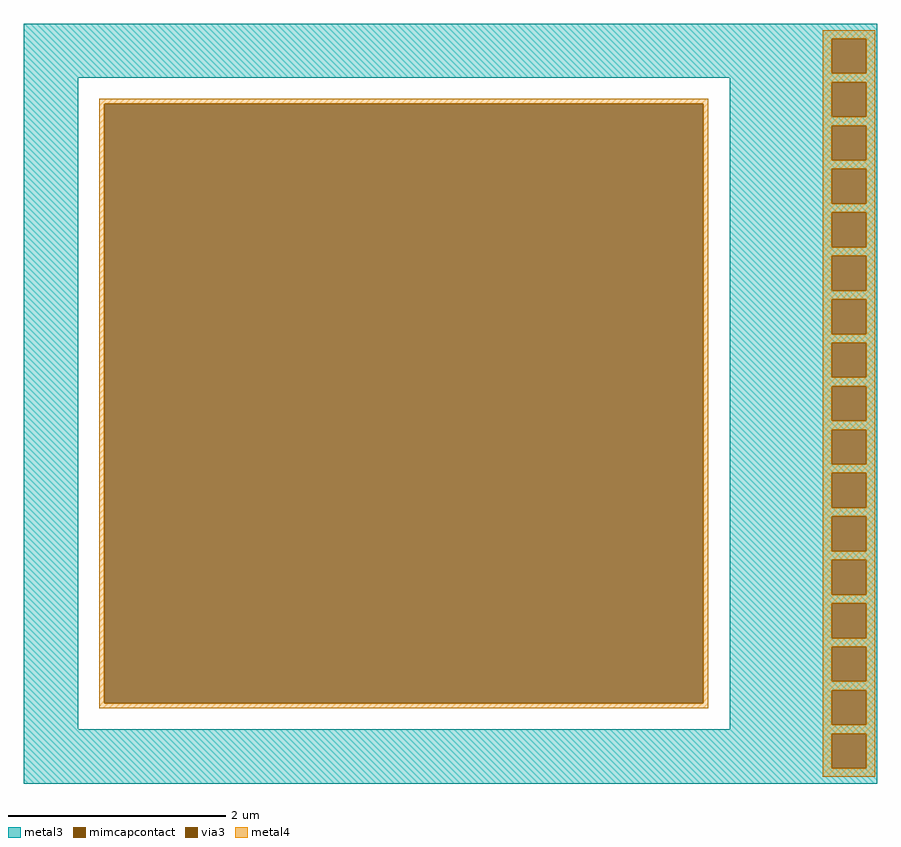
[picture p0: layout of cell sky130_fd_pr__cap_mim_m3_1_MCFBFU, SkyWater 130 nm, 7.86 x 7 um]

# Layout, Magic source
magic
tech sky130A
magscale 1 2
<< metal3 >>
rect -786 672 786 700
rect -786 608 702 672
rect 766 608 786 672
rect -786 600 786 608
rect -786 -600 -686 600
rect 514 592 786 600
rect 514 528 702 592
rect 766 528 786 592
rect 514 512 786 528
rect 514 448 702 512
rect 766 448 786 512
rect 514 432 786 448
rect 514 368 702 432
rect 766 368 786 432
rect 514 352 786 368
rect 514 288 702 352
rect 766 288 786 352
rect 514 272 786 288
rect 514 208 702 272
rect 766 208 786 272
rect 514 192 786 208
rect 514 128 702 192
rect 766 128 786 192
rect 514 112 786 128
rect 514 48 702 112
rect 766 48 786 112
rect 514 32 786 48
rect 514 -32 702 32
rect 766 -32 786 32
rect 514 -48 786 -32
rect 514 -112 702 -48
rect 766 -112 786 -48
rect 514 -128 786 -112
rect 514 -192 702 -128
rect 766 -192 786 -128
rect 514 -208 786 -192
rect 514 -272 702 -208
rect 766 -272 786 -208
rect 514 -288 786 -272
rect 514 -352 702 -288
rect 766 -352 786 -288
rect 514 -368 786 -352
rect 514 -432 702 -368
rect 766 -432 786 -368
rect 514 -448 786 -432
rect 514 -512 702 -448
rect 766 -512 786 -448
rect 514 -528 786 -512
rect 514 -592 702 -528
rect 766 -592 786 -528
rect 514 -600 786 -592
rect -786 -608 786 -600
rect -786 -672 702 -608
rect 766 -672 786 -608
rect -786 -700 786 -672
<< via3 >>
rect 702 608 766 672
rect 702 528 766 592
rect 702 448 766 512
rect 702 368 766 432
rect 702 288 766 352
rect 702 208 766 272
rect 702 128 766 192
rect 702 48 766 112
rect 702 -32 766 32
rect 702 -112 766 -48
rect 702 -192 766 -128
rect 702 -272 766 -208
rect 702 -352 766 -288
rect 702 -432 766 -368
rect 702 -512 766 -448
rect 702 -592 766 -528
rect 702 -672 766 -608
<< mimcapcontact >>
rect -638 -552 466 552
<< metal4 >>
rect 686 672 782 688
rect 686 608 702 672
rect 766 608 782 672
rect 686 592 782 608
rect -647 552 475 561
rect -647 -552 -638 552
rect 466 -552 475 552
rect -647 -561 475 -552
rect 686 528 702 592
rect 766 528 782 592
rect 686 512 782 528
rect 686 448 702 512
rect 766 448 782 512
rect 686 432 782 448
rect 686 368 702 432
rect 766 368 782 432
rect 686 352 782 368
rect 686 288 702 352
rect 766 288 782 352
rect 686 272 782 288
rect 686 208 702 272
rect 766 208 782 272
rect 686 192 782 208
rect 686 128 702 192
rect 766 128 782 192
rect 686 112 782 128
rect 686 48 702 112
rect 766 48 782 112
rect 686 32 782 48
rect 686 -32 702 32
rect 766 -32 782 32
rect 686 -48 782 -32
rect 686 -112 702 -48
rect 766 -112 782 -48
rect 686 -128 782 -112
rect 686 -192 702 -128
rect 766 -192 782 -128
rect 686 -208 782 -192
rect 686 -272 702 -208
rect 766 -272 782 -208
rect 686 -288 782 -272
rect 686 -352 702 -288
rect 766 -352 782 -288
rect 686 -368 782 -352
rect 686 -432 702 -368
rect 766 -432 782 -368
rect 686 -448 782 -432
rect 686 -512 702 -448
rect 766 -512 782 -448
rect 686 -528 782 -512
rect 686 -592 702 -528
rect 766 -592 782 -528
rect 686 -608 782 -592
rect 686 -672 702 -608
rect 766 -672 782 -608
rect 686 -688 782 -672
<< properties >>
string FIXED_BBOX -786 -700 614 700
<< end >>
